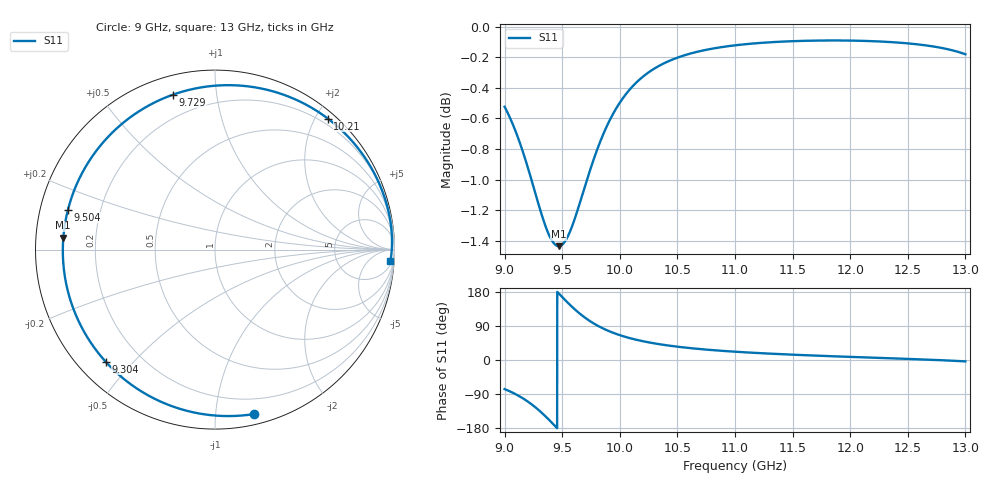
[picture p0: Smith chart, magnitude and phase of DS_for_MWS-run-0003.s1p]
! TOUCHSTONE file generated by CST DESIGN STUDIO
! Date and time: Tue Feb  4 17:04:18 2025
! Project name: C:\Work\MatlabApps\UnitCellOptimizationMatlab\CST\unitcell.cst
! Tree item: Tasks\Sweep1\SPara1\S-Parameters
! Header version: 2024
! Port assignment regex: !\s*Touchstone port\s*([0-9]+)\s*=\s*(CST MWS port|CST DES external port|CST DES block port)\s*(.+)\s* \(\"(.*)\"\)(\s*mode\s*([0-9]+))?.*
! Touchstone port assignment:
! Touchstone port 1 = CST DES external port 1 ("")
# GHz S MA R 50
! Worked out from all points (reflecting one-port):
!   4001 points, 9 GHz to 13 GHz, reference 50 ohm
!   lowest |S11| = -1.4 dB at 9.47 GHz (marker M1), VSWR 12.13, Z = 4.13 + j1.93 ohm
!   phase of S11 starts at -77 deg and turns -287 deg over the sweep
!   S11 on the Smith chart (normalised r, x): 9 GHz: 0.08, -1.26; 9.304 GHz: 0.08, -0.42; 9.504 GHz: 0.08, +0.13; 9.729 GHz: 0.09, +0.76; 10.21 GHz: 0.11, +2.18; 13 GHz: 9, -29
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9  0.9415 -76.8
9.095  0.9244 -90.1
9.171  0.9071 -103.5
9.24  0.8893 -118.2
9.304  0.8725 -134.3
9.393  0.8537 -160.1
9.432  0.8492 -172.3
9.47  0.8477 175.6
9.5  0.8487 166.0
9.504  0.8489 164.8
9.556  0.8551 148.8
9.618  0.8674 131.3
9.672  0.8804 117.7
9.729  0.8945 105.1
9.782  0.9069 94.9
9.842  0.9195 85.1
9.919  0.9331 74.6
10  0.9444 65.6
10.097  0.9549 56.9
10.205  0.9634 49.3
10.341  0.971 41.8
10.5  0.977 35.1
10.722  0.9823 28.2
11  0.9861 21.9
11.5  0.9892 14.0
12  0.9896 8.2
12.5  0.9876 2.9
13  0.9795 -3.6
